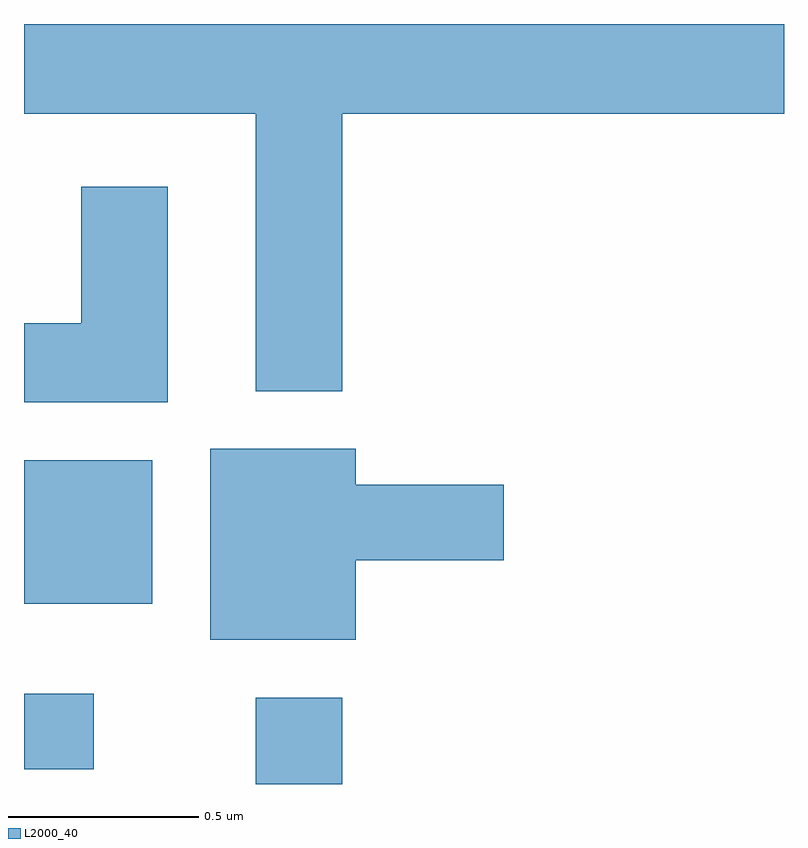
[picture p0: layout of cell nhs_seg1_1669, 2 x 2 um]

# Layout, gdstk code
import gdstk
lib = gdstk.Library(unit=1e-6, precision=1e-09)
def R(c, l, rs):  # rectangles x0, y0, x1, y1
    for r in rs: c.add(gdstk.rectangle(r[:2], r[2:], *l))
def P(c, l, *ps):  # polygons
    for p in ps: c.add(gdstk.Polygon(p, *l))
L2000_40 = (2000, 40)

nhs_seg1_1669 = lib.new_cell('nhs_seg1_1669')
R(nhs_seg1_1669, L2000_40, [(198.221,886.712,198.449,886.939), (197.611,886.751,197.794,886.949), (197.611,887.186,197.949,887.564)])
P(nhs_seg1_1669, L2000_40, [(198.449,888.476),(199.611,888.476),(199.611,888.712),(197.611,888.712),(197.611,888.476),(198.221,888.476),(198.221,887.746),(198.449,887.746)],
  [(197.989,888.284),(197.761,888.284),(197.761,887.924),(197.611,887.924),(197.611,887.716),(197.989,887.716)],
  [(198.484,887.301),(198.874,887.301),(198.874,887.499),(198.484,887.499),(198.484,887.594),(198.101,887.594),(198.101,887.091),(198.484,887.091)])

lib.write_gds('nhs_seg1_1669.gds')
